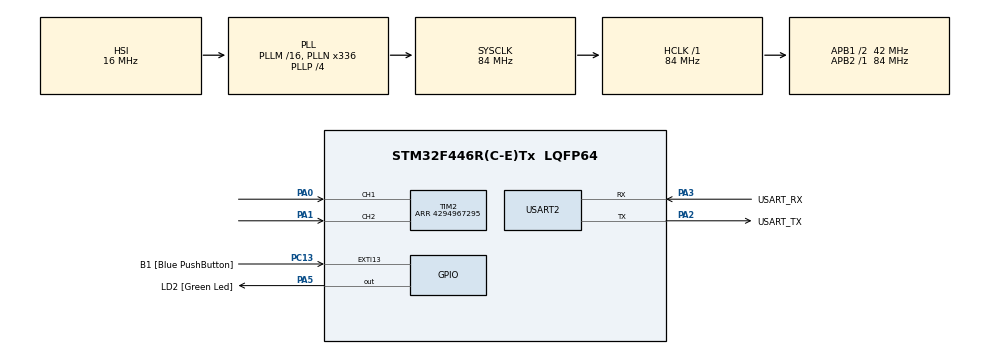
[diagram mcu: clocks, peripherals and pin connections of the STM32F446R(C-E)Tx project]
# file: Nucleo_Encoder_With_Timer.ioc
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Mcu.Family=STM32F4
Mcu.Name=STM32F446R(C-E)Tx
Mcu.Package=LQFP64
NVIC.PriorityGroup=NVIC_PRIORITYGROUP_0
PA0-WKUP.GPIO_PuPd=GPIO_PULLUP
PA0-WKUP.Signal=S_TIM2_CH1_ETR
PA1.GPIO_PuPd=GPIO_PULLUP
PA1.Signal=S_TIM2_CH2
PA13.GPIO_Label=TMS
PA13.Mode=Serial_Wire
PA13.Signal=SYS_JTMS-SWDIO
PA14.GPIO_Label=TCK
PA14.Mode=Serial_Wire
PA14.Signal=SYS_JTCK-SWCLK
PA2.GPIO_Label=USART_TX
PA2.Mode=Asynchronous
PA2.Signal=USART2_TX
PA3.GPIO_Label=USART_RX
PA3.Mode=Asynchronous
PA3.Signal=USART2_RX
PA5.GPIO_Label=LD2 [Green Led]
PA5.Signal=GPIO_Output
PB3.GPIO_Label=SWO
PB3.Signal=SYS_JTDO-SWO
PC13.GPIO_Label=B1 [Blue PushButton]
PC13.GPIO_ModeDefaultEXTI=GPIO_MODE_IT_FALLING
PC13.Signal=GPXTI13
PC14-OSC32_IN.Mode=LSE-External-Oscillator
PC14-OSC32_IN.Signal=RCC_OSC32_IN
PC15-OSC32_OUT.Mode=LSE-External-Oscillator
PC15-OSC32_OUT.Signal=RCC_OSC32_OUT
PH0-OSC_IN.Mode=HSE-External-Oscillator
PH0-OSC_IN.Signal=RCC_OSC_IN
PH1-OSC_OUT.Mode=HSE-External-Oscillator
PH1-OSC_OUT.Signal=RCC_OSC_OUT
ProjectManager.HeapSize=0x200
ProjectManager.StackSize=0x400
ProjectManager.TargetToolchain=STM32CubeIDE
RCC.48MHZClocksFreq_Value=84000000
RCC.AHBFreq_Value=84000000
RCC.APB1CLKDivider=RCC_HCLK_DIV2
RCC.APB1Freq_Value=42000000
RCC.APB1TimFreq_Value=84000000
RCC.APB2Freq_Value=84000000
RCC.APB2TimFreq_Value=84000000
RCC.CortexFreq_Value=84000000
RCC.FLatency-AdvancedSettings=FLASH_LATENCY_2
RCC.HCLKFreq_Value=84000000
RCC.HSE_VALUE=8000000
RCC.HSI_VALUE=16000000
RCC.PLLN=336
RCC.PLLP=RCC_PLLP_DIV4
RCC.SYSCLKFreq_VALUE=84000000
RCC.SYSCLKSource=RCC_SYSCLKSOURCE_PLLCLK
RCC.USBFreq_Value=168000000
RCC.VCOOutputFreq_Value=336000000
SH.S_TIM2_CH1_ETR.0=TIM2_CH1,Encoder_Interface
SH.S_TIM2_CH2.0=TIM2_CH2,Encoder_Interface
TIM2.EncoderMode=TIM_ENCODERMODE_TI1
TIM2.Period=4294967295
USART2.VirtualMode=VM_ASYNC
board=NUCLEO-F446RE

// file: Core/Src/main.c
/* USER CODE BEGIN Header */
/**
  ******************************************************************************
  * @file           : main.c
  * @brief          : Main program body
  ******************************************************************************
  * @attention
  *
  * Copyright (c) 2025 STMicroelectronics.
  * All rights reserved.
  *
  * This software is licensed under terms that can be found in the LICENSE file
  * in the root directory of this software component.
  * If no LICENSE file comes with this software, it is provided AS-IS.
  *
  ******************************************************************************
  */
/* USER CODE END Header */
#include "main.h"

/* USER CODE BEGIN Includes */
#include <stdio.h>
#include <stdlib.h>
/* USER CODE END Includes */

TIM_HandleTypeDef htim2;

UART_HandleTypeDef huart2;

void SystemClock_Config(void);
static void MX_GPIO_Init(void);
static void MX_USART2_UART_Init(void);
static void MX_TIM2_Init(void);

int main(void)
{

  /* MCU Configuration--------------------------------------------------------*/

  /* Reset of all peripherals, Initializes the Flash interface and the Systick. */
  HAL_Init();

  /* Configure the system clock */
  SystemClock_Config();

  /* Initialize all configured peripherals */
  MX_GPIO_Init();
  MX_USART2_UART_Init();
  MX_TIM2_Init();
  /* USER CODE BEGIN 2 */
  if (HAL_TIM_Encoder_Start(&htim2, TIM_CHANNEL_ALL) != HAL_OK) {
	  printf("Error starting timer\n");
	  fflush(stdout);
  }
  HAL_Delay(3000);
  /* USER CODE END 2 */

  /* Infinite loop */
  while (1)
  {

    /* USER CODE BEGIN 3 */
	int32_t counter = (int32_t)__HAL_TIM_GET_COUNTER(&htim2);
	uint8_t direction = __HAL_TIM_IS_TIM_COUNTING_DOWN(&htim2);
	char* dir = "";
	if (direction == 1) {
		dir = "Clockwise";
	} else {
		dir = "Counter clockwise\n";
	}

	// after testing: clockwise is 1, CCW is 0

	printf("direction: %s\nposition: %ld\n", dir, counter);
	fflush(stdout);
  }
  /* USER CODE END 3 */
}

void SystemClock_Config(void)
{
  RCC_OscInitTypeDef RCC_OscInitStruct = {0};
  RCC_ClkInitTypeDef RCC_ClkInitStruct = {0};

  /** Configure the main internal regulator output voltage
  */
  __HAL_RCC_PWR_CLK_ENABLE();
  __HAL_PWR_VOLTAGESCALING_CONFIG(PWR_REGULATOR_VOLTAGE_SCALE3);

  /** Initializes the RCC Oscillators according to the specified parameters
  * in the RCC_OscInitTypeDef structure.
  */
  RCC_OscInitStruct.OscillatorType = RCC_OSCILLATORTYPE_HSI;
  RCC_OscInitStruct.HSIState = RCC_HSI_ON;
  RCC_OscInitStruct.HSICalibrationValue = RCC_HSICALIBRATION_DEFAULT;
  RCC_OscInitStruct.PLL.PLLState = RCC_PLL_ON;
  RCC_OscInitStruct.PLL.PLLSource = RCC_PLLSOURCE_HSI;
  RCC_OscInitStruct.PLL.PLLM = 16;
  RCC_OscInitStruct.PLL.PLLN = 336;
  RCC_OscInitStruct.PLL.PLLP = RCC_PLLP_DIV4;
  RCC_OscInitStruct.PLL.PLLQ = 2;
  RCC_OscInitStruct.PLL.PLLR = 2;
  if (HAL_RCC_OscConfig(&RCC_OscInitStruct) != HAL_OK)
  {
    Error_Handler();
  }

  /** Initializes the CPU, AHB and APB buses clocks
  */
  RCC_ClkInitStruct.ClockType = RCC_CLOCKTYPE_HCLK|RCC_CLOCKTYPE_SYSCLK
                              |RCC_CLOCKTYPE_PCLK1|RCC_CLOCKTYPE_PCLK2;
  RCC_ClkInitStruct.SYSCLKSource = RCC_SYSCLKSOURCE_PLLCLK;
  RCC_ClkInitStruct.AHBCLKDivider = RCC_SYSCLK_DIV1;
  RCC_ClkInitStruct.APB1CLKDivider = RCC_HCLK_DIV2;
  RCC_ClkInitStruct.APB2CLKDivider = RCC_HCLK_DIV1;

  if (HAL_RCC_ClockConfig(&RCC_ClkInitStruct, FLASH_LATENCY_2) != HAL_OK)
  {
    Error_Handler();
  }
}

static void MX_TIM2_Init(void)
{

  TIM_Encoder_InitTypeDef sConfig = {0};
  TIM_MasterConfigTypeDef sMasterConfig = {0};

  htim2.Instance = TIM2;
  htim2.Init.Prescaler = 0;
  htim2.Init.CounterMode = TIM_COUNTERMODE_UP;
  htim2.Init.Period = 4294967295;
  htim2.Init.ClockDivision = TIM_CLOCKDIVISION_DIV1;
  htim2.Init.AutoReloadPreload = TIM_AUTORELOAD_PRELOAD_DISABLE;
  sConfig.EncoderMode = TIM_ENCODERMODE_TI1;
  sConfig.IC1Polarity = TIM_ICPOLARITY_RISING;
  sConfig.IC1Selection = TIM_ICSELECTION_DIRECTTI;
  sConfig.IC1Prescaler = TIM_ICPSC_DIV1;
  sConfig.IC1Filter = 0;
  sConfig.IC2Polarity = TIM_ICPOLARITY_RISING;
  sConfig.IC2Selection = TIM_ICSELECTION_DIRECTTI;
  sConfig.IC2Prescaler = TIM_ICPSC_DIV1;
  sConfig.IC2Filter = 0;
  if (HAL_TIM_Encoder_Init(&htim2, &sConfig) != HAL_OK)
  {
    Error_Handler();
  }
  sMasterConfig.MasterOutputTrigger = TIM_TRGO_RESET;
  sMasterConfig.MasterSlaveMode = TIM_MASTERSLAVEMODE_DISABLE;
  if (HAL_TIMEx_MasterConfigSynchronization(&htim2, &sMasterConfig) != HAL_OK)
  {
    Error_Handler();
  }

}

static void MX_USART2_UART_Init(void)
{

  huart2.Instance = USART2;
  huart2.Init.BaudRate = 115200;
  huart2.Init.WordLength = UART_WORDLENGTH_8B;
  huart2.Init.StopBits = UART_STOPBITS_1;
  huart2.Init.Parity = UART_PARITY_NONE;
  huart2.Init.Mode = UART_MODE_TX_RX;
  huart2.Init.HwFlowCtl = UART_HWCONTROL_NONE;
  huart2.Init.OverSampling = UART_OVERSAMPLING_16;
  if (HAL_UART_Init(&huart2) != HAL_OK)
  {
    Error_Handler();
  }

}

static void MX_GPIO_Init(void)
{
  GPIO_InitTypeDef GPIO_InitStruct = {0};

  /* GPIO Ports Clock Enable */
  __HAL_RCC_GPIOC_CLK_ENABLE();
  __HAL_RCC_GPIOH_CLK_ENABLE();
  __HAL_RCC_GPIOA_CLK_ENABLE();
  __HAL_RCC_GPIOB_CLK_ENABLE();

  /*Configure GPIO pin Output Level */
  HAL_GPIO_WritePin(LD2_GPIO_Port, LD2_Pin, GPIO_PIN_RESET);

  /*Configure GPIO pin : B1_Pin */
  GPIO_InitStruct.Pin = B1_Pin;
  GPIO_InitStruct.Mode = GPIO_MODE_IT_FALLING;
  GPIO_InitStruct.Pull = GPIO_NOPULL;
  HAL_GPIO_Init(B1_GPIO_Port, &GPIO_InitStruct);

  /*Configure GPIO pin : LD2_Pin */
  GPIO_InitStruct.Pin = LD2_Pin;
  GPIO_InitStruct.Mode = GPIO_MODE_OUTPUT_PP;
  GPIO_InitStruct.Pull = GPIO_NOPULL;
  GPIO_InitStruct.Speed = GPIO_SPEED_FREQ_LOW;
  HAL_GPIO_Init(LD2_GPIO_Port, &GPIO_InitStruct);

}

void Error_Handler(void)
{
  __disable_irq();
  while (1)
  {
  }
}
